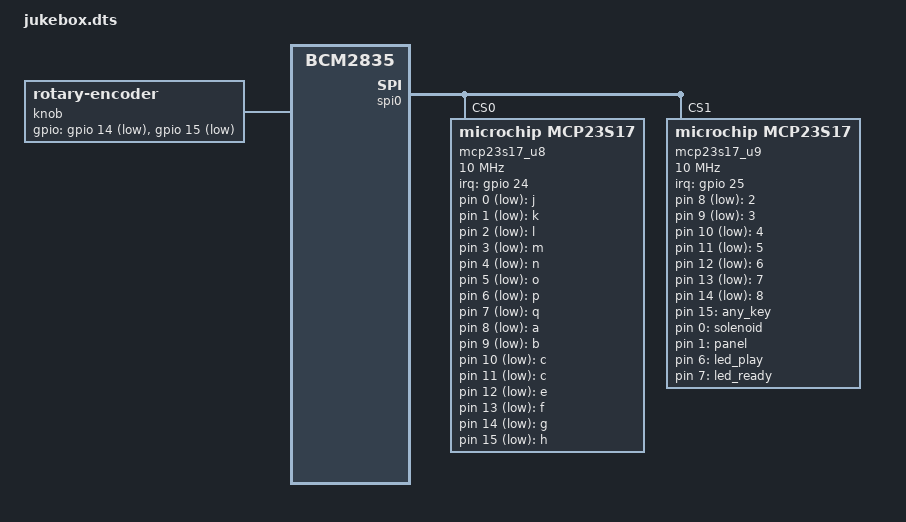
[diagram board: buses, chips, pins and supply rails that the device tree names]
/*
 * Device Tree overlay for MaZderMind's Jukebox
 *
 */

/dts-v1/;
/plugin/;

/{
	compatible = "brcm,bcm2835";

	fragment@0 {
		target = <&spi0>;
		__overlay__ {
			status = "okay";

			#address-cells = <1>;
			#size-cells = <0>;

			spidev@0{
				status = "disabled";
			};

			spidev@1{
				status = "disabled";
			};

			mcp23s17_u8: mcp23s17@0 {
				compatible = "microchip,mcp23s17";
				status = "okay";

				gpio-controller;
				#gpio-cells = <2>;

				interrupt-parent = <&gpio>;
				interrupts = <24 0x2>;
				interrupt-controller;
				microchip,irq-mirror;
				#interrupt-cells=<2>;

				microchip,spi-present-mask = <0x01>;
				reg = <0>;

				spi-max-frequency = <10000000>;

				pinctrl-names = "default";
				pinctrl-0 = <&u8_state_default>;

				u8_state_default: pinmux {
					pins = "gpio0", "gpio1", "gpio2", "gpio3",
					       "gpio4", "gpio5", "gpio6", "gpio7",
					       "gpio8", "gpio9", "gpio10", "gpio11",
					       "gpio12", "gpio13", "gpio14", "gpio15";

					bias-pull-up;
				};
			};

			mcp23s17_u9: mcp23s17@1 {
				compatible = "microchip,mcp23s17";
				status = "okay";

				gpio-controller;
				#gpio-cells = <2>;

				interrupt-parent = <&gpio>;
				interrupts = <25 0x2>;
				interrupt-controller;
				microchip,irq-mirror;
				#interrupt-cells=<2>;

				microchip,spi-present-mask = <0x01>;
				reg = <1>;

				spi-max-frequency = <10000000>;

				pinctrl-names = "default";
				pinctrl-0 = <&u9_state_default>;

				u9_state_default: pinmux {
					pins = "gpio8", "gpio9", "gpio10", "gpio11",
					       "gpio12", "gpio13", "gpio14", "gpio15";

					bias-pull-up;
				};
			};
		};
	};

	fragment@1 {
		target = <&leds>;
		__overlay__ {
			compatible = "gpio-leds";

			solenoid: solenoid {
				label = "solenoid";
				gpios = <&mcp23s17_u9 0 0>;
				default-state = "off";
			};
			panel: panel {
				label = "panel";
				gpios = <&mcp23s17_u9 1 0>;
				default-state = "off";
			};
			led_play: led_play {
				label = "led_play";
				gpios = <&mcp23s17_u9 6 0>;
				default-state = "off";
			};
			led_ready: led_ready {
				label = "led_ready";
				gpios = <&mcp23s17_u9 7 0>;
				default-state = "off";
			};
		};
	};

	fragment@2 {
		target-path = "/";
		__overlay__ {
			keypad: panel_keys {
				compatible = "gpio-keys";
				debounce-interval = "15"; /* Die alten Taster sind sehr Bouncy */
				#address-cells = <1>;
				#size-cells = <0>;

				button@2 {
					label = "2";
					linux,code = <3>;
					gpios = <&mcp23s17_u9 8 0x1>;
				};
				button@3 {
					label = "3";
					linux,code = <4>;
					gpios = <&mcp23s17_u9 9 0x1>;
				};
				button@4 {
					label = "4";
					linux,code = <5>;
					gpios = <&mcp23s17_u9 10 0x1>;
				};
				button@5 {
					label = "5";
					linux,code = <6>;
					gpios = <&mcp23s17_u9 11 0x1>;
				};
				button@6 {
					label = "6";
					linux,code = <7>;
					gpios = <&mcp23s17_u9 12 0x1>;
				};
				button@7 {
					label = "7";
					linux,code = <8>;
					gpios = <&mcp23s17_u9 13 0x1>;
				};
				button@8 {
					label = "8";
					linux,code = <9>;
					gpios = <&mcp23s17_u9 14 0x1>;
				};
				button@any_key {
					label = "any_key";
					linux,code = <11>; /* KEY_0 */
					gpios = <&mcp23s17_u9 15 0x0>; /* Active High */
				};

				button@j {
					label = "j";
					linux,code = <36>;
					gpios = <&mcp23s17_u8 0 0x1>;
				};
				button@k {
					label = "k";
					linux,code = <37>;
					gpios = <&mcp23s17_u8 1 0x1>;
				};
				button@l {
					label = "l";
					linux,code = <38>;
					gpios = <&mcp23s17_u8 2 0x1>;
				};
				button@m {
					label = "m";
					linux,code = <50>;
					gpios = <&mcp23s17_u8 3 0x1>;
				};
				button@n {
					label = "n";
					linux,code = <49>;
					gpios = <&mcp23s17_u8 4 0x1>;
				};
				button@o {
					label = "o";
					linux,code = <24>;
					gpios = <&mcp23s17_u8 5 0x1>;
				};
				button@p {
					label = "p";
					linux,code = <25>;
					gpios = <&mcp23s17_u8 6 0x1>;
				};
				button@q {
					label = "q";
					linux,code = <16>;
					gpios = <&mcp23s17_u8 7 0x1>;
				};

				button@a {
					label = "a";
					linux,code = <30>;
					gpios = <&mcp23s17_u8 8 0x1>;
				};
				button@b {
					label = "b";
					linux,code = <48>;
					gpios = <&mcp23s17_u8 9 0x1>;
				};
				button@c {
					label = "c";
					linux,code = <46>;
					gpios = <&mcp23s17_u8 10 0x1>;
				};
				button@d {
					label = "c";
					linux,code = <32>;
					gpios = <&mcp23s17_u8 11 0x1>;
				};
				button@e {
					label = "e";
					linux,code = <18>;
					gpios = <&mcp23s17_u8 12 0x1>;
				};
				button@f {
					label = "f";
					linux,code = <33>;
					gpios = <&mcp23s17_u8 13 0x1>;
				};
				button@g {
					label = "g";
					linux,code = <34>;
					gpios = <&mcp23s17_u8 14 0x1>;
				};
				button@h {
					label = "h";
					linux,code = <35>;
					gpios = <&mcp23s17_u8 15 0x1>;
				};
			};
		};
	};


	fragment@3 {
		target-path = "/soc/gpio";
		__overlay__ {
			knob_pins: knob_pins {
				brcm,pins = <14 15>;
				brcm,function = <0>;
				brcm,pull = <2>;
			};
		};
	};


	fragment@4 {
		target-path = "/soc";
		__overlay__ {
			knob: knob {
				compatible = "rotary-encoder";
				#address-cells = <1>;
				#size-cells = <0>;
				pinctrl-names = "default";
				pinctrl-0 = <&knob_pins>;
				gpios = <&gpio 14 1>, <&gpio 15 1>; 
				linux,axis = <9>; /* REL_MISC */
				rotary-encoder,relative-axis;
			};
		};
	};
};
